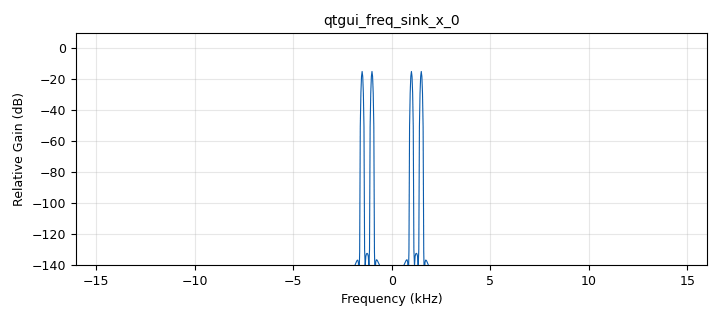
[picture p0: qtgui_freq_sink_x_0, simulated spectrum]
options:
  parameters:
    generate_options: qt_gui
    id: goertzel_test
    output_language: python
    title: Goertzel Test
  states: {}

blocks:
- name: gain
  id: variable_qtgui_range
  parameters:
    start: '0'
    step: '1'
    stop: '5'
    value: '1'
    widget: dial
  states: {}
- name: goertzel_freq
  id: variable_qtgui_range
  parameters:
    start: '0'
    step: '1'
    stop: '10000'
    value: '1000'
  states: {}
- name: goertzel_freq2
  id: variable_qtgui_range
  parameters:
    start: '0'
    step: '1'
    stop: '10000'
    value: '1500'
  states: {}
- name: samp_rate
  id: variable
  parameters:
    value: '32000'
  states: {}
- name: signal_amplitude
  id: variable_qtgui_range
  parameters:
    start: '0'
    step: '0.1'
    stop: '5'
    value: '1'
  states: {}
- name: signal_amplitude2
  id: variable_qtgui_range
  parameters:
    start: '0'
    step: '0.1'
    stop: '5'
    value: '1'
  states: {}
- name: signal_freq
  id: variable_qtgui_range
  parameters:
    start: '0'
    step: '1'
    stop: '10000'
    value: '1000'
  states: {}
- name: signal_freq2
  id: variable_qtgui_range
  parameters:
    rangeType: int
    start: '0'
    step: '1'
    stop: '10000'
    value: '1500'
  states: {}
- name: thresh_absent
  id: variable
  parameters:
    value: '0.1'
  states: {}
- name: thresh_present
  id: variable
  parameters:
    value: '0.05'
  states: {}
- name: And
  id: qtgui_number_sink
  parameters:
    graph_type: qtgui.NUM_GRAPH_VERT
    type: byte
  states: {}
- name: Freq1
  id: qtgui_number_sink
  parameters:
    graph_type: qtgui.NUM_GRAPH_VERT
    type: byte
  states: {}
- name: Freq2
  id: qtgui_number_sink
  parameters:
    graph_type: qtgui.NUM_GRAPH_VERT
    type: byte
  states: {}
- name: analog_sig_source_x_0
  id: analog_sig_source_x
  parameters:
    amp: signal_amplitude
    freq: signal_freq
    offset: '0'
    phase: '0'
    samp_rate: samp_rate
    type: float
    waveform: analog.GR_COS_WAVE
  states: {}
- name: analog_sig_source_x_0_0
  id: analog_sig_source_x
  parameters:
    amp: signal_amplitude2
    freq: signal_freq2
    offset: '0'
    phase: '0'
    samp_rate: samp_rate
    type: float
    waveform: analog.GR_COS_WAVE
  states: {}
- name: blocks_add_xx_0
  id: blocks_add_xx
  parameters:
    type: float
  states: {}
- name: blocks_and_xx_0
  id: blocks_and_xx
  parameters:
    type: byte
  states: {}
- name: blocks_complex_to_mag_squared_0
  id: blocks_complex_to_mag_squared
  parameters: {}
  states: {}
- name: blocks_complex_to_mag_squared_0_0
  id: blocks_complex_to_mag_squared
  parameters: {}
  states: {}
- name: blocks_float_to_uchar_0
  id: blocks_float_to_uchar
  parameters:
    bias: '0'
    scale: '1'
    vlen: '1'
  states: {}
- name: blocks_float_to_uchar_0_0
  id: blocks_float_to_uchar
  parameters:
    bias: '0'
    scale: '1'
    vlen: '1'
  states: {}
- name: blocks_multiply_const_vxx_0
  id: blocks_multiply_const_vxx
  parameters:
    const: gain
    type: float
  states: {}
- name: blocks_threshold_ff_0
  id: blocks_threshold_ff
  parameters:
    high: thresh_present
    init: '0'
    low: thresh_absent
  states: {}
- name: blocks_threshold_ff_0_0
  id: blocks_threshold_ff
  parameters:
    high: thresh_present
    init: '0'
    low: thresh_absent
  states: {}
- name: goertzel_fc_0
  id: goertzel_fc
  parameters:
    freq: goertzel_freq
    len: '4096'
    rate: samp_rate
  states: {}
- name: goertzel_fc_0_0
  id: goertzel_fc
  parameters:
    freq: goertzel_freq2
    len: '4096'
    rate: samp_rate
  states: {}
- name: qtgui_freq_sink_x_0
  id: qtgui_freq_sink_x
  parameters:
    bw: samp_rate
    fc: '0'
    fftsize: '1024'
    type: float
  states: {}
- name: qtgui_time_sink_x_0
  id: qtgui_time_sink_x
  parameters:
    size: '1024'
    srate: samp_rate
    type: float
  states: {}
- name: qtgui_time_sink_x_0_0
  id: qtgui_time_sink_x
  parameters:
    size: '1024'
    srate: samp_rate
    type: complex
  states: {}
- name: qtgui_time_sink_x_0_1
  id: qtgui_time_sink_x
  parameters:
    name: '"Output"'
    size: '1024'
    srate: samp_rate
    type: float
  states: {}

connections:
- [analog_sig_source_x_0, '0', blocks_add_xx_0, '0']
- [analog_sig_source_x_0_0, '0', blocks_add_xx_0, '1']
- [blocks_add_xx_0, '0', blocks_multiply_const_vxx_0, '0']
- [blocks_and_xx_0, '0', And, '0']
- [blocks_complex_to_mag_squared_0, '0', blocks_threshold_ff_0, '0']
- [blocks_complex_to_mag_squared_0, '0', qtgui_time_sink_x_0, '0']
- [blocks_complex_to_mag_squared_0_0, '0', blocks_threshold_ff_0_0, '0']
- [blocks_float_to_uchar_0, '0', Freq1, '0']
- [blocks_float_to_uchar_0, '0', blocks_and_xx_0, '0']
- [blocks_float_to_uchar_0_0, '0', Freq2, '0']
- [blocks_float_to_uchar_0_0, '0', blocks_and_xx_0, '1']
- [blocks_multiply_const_vxx_0, '0', goertzel_fc_0, '0']
- [blocks_multiply_const_vxx_0, '0', goertzel_fc_0_0, '0']
- [blocks_multiply_const_vxx_0, '0', qtgui_freq_sink_x_0, '0']
- [blocks_threshold_ff_0, '0', blocks_float_to_uchar_0, '0']
- [blocks_threshold_ff_0, '0', qtgui_time_sink_x_0_1, '0']
- [blocks_threshold_ff_0_0, '0', blocks_float_to_uchar_0_0, '0']
- [goertzel_fc_0, '0', blocks_complex_to_mag_squared_0, '0']
- [goertzel_fc_0, '0', qtgui_time_sink_x_0_0, '0']
- [goertzel_fc_0_0, '0', blocks_complex_to_mag_squared_0_0, '0']

metadata:
  file_format: 1
  grc_version: 3.10.10.0
